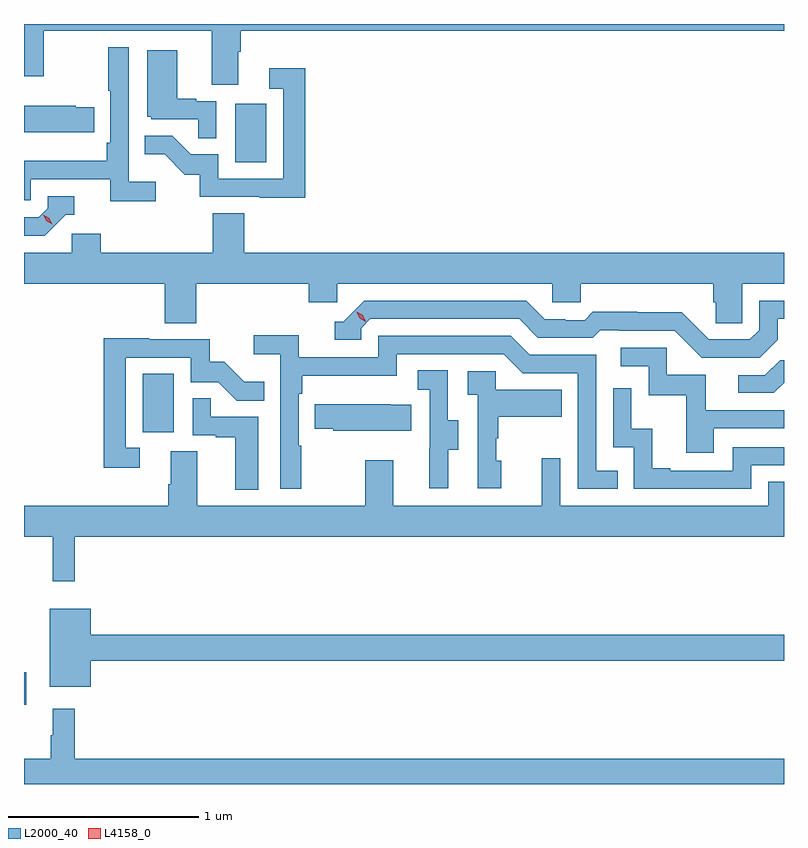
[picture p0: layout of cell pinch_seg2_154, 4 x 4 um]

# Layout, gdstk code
import gdstk
lib = gdstk.Library(unit=1e-6, precision=1e-09)
def R(c, l, rs):  # rectangles x0, y0, x1, y1
    for r in rs: c.add(gdstk.rectangle(r[:2], r[2:], *l))
def P(c, l, *ps):  # polygons
    for p in ps: c.add(gdstk.Polygon(p, *l))
L2000_40 = (2000, 40)
L4158_0 = (4158, 0)

pinch_seg2_154 = lib.new_cell('pinch_seg2_154')
R(pinch_seg2_154, L2000_40, [(1089.769,637.427,1089.781,637.598), (1090.394,638.862,1090.558,639.169), (1090.88,640.284,1091.044,640.591)])
P(pinch_seg2_154, L2000_40, [(1090.897,640.864),(1090.91,640.864),(1090.91,640.976),(1093.769,640.976),(1093.769,641.011),(1089.769,641.011),(1089.769,640.737),(1089.873,640.737),(1089.873,640.976),(1090.757,640.976),(1090.757,640.69),(1090.897,640.69)],
  [(1090.462,640.18),(1090.32,640.18),(1090.32,640.888),(1090.212,640.888),(1090.212,640.66),(1090.224,640.66),(1090.224,640.387),(1090.204,640.387),(1090.204,640.291),(1089.769,640.291),(1089.769,640.083),(1089.804,640.083),(1089.804,640.194),(1090.223,640.194),(1090.223,640.078),(1090.462,640.078)],
  [(1090.782,640.605),(1090.676,640.605),(1090.676,640.618),(1090.576,640.618),(1090.576,640.873),(1090.418,640.873),(1090.418,640.524),(1090.44,640.524),(1090.44,640.509),(1090.687,640.509),(1090.687,640.411),(1090.782,640.411)],
  [(1091.249,640.777),(1091.061,640.777),(1091.061,640.671),(1091.133,640.671),(1091.133,640.197),(1090.791,640.197),(1090.791,640.326),(1090.647,640.326),(1090.549,640.424),(1090.405,640.424),(1090.405,640.325),(1090.509,640.325),(1090.616,640.218),(1090.693,640.218),(1090.693,640.101),(1091.011,640.101),(1091.011,640.096),(1091.249,640.096)],
  [(1090.139,640.572),(1090.041,640.572),(1090.041,640.582),(1089.769,640.582),(1089.769,640.442),(1090.139,640.442)],
  [(1089.99,640.008),(1090.033,640.008),(1090.033,640.104),(1089.894,640.104),(1089.894,640.041),(1089.846,639.993),(1089.769,639.993),(1089.769,639.897),(1089.879,639.897)],
  [(1090.676,639.644),(1091.267,639.644),(1091.267,639.546),(1091.418,639.546),(1091.418,639.644),(1092.549,639.644),(1092.549,639.546),(1092.699,639.546),(1092.699,639.644),(1093.397,639.644),(1093.397,639.546),(1093.411,639.546),(1093.411,639.436),(1093.548,639.436),(1093.548,639.644),(1093.769,639.644),(1093.769,639.808),(1090.928,639.808),(1090.928,640.016),(1090.763,640.016),(1090.763,639.808),(1090.172,639.808),(1090.172,639.906),(1090.02,639.906),(1090.02,639.808),(1089.769,639.808),(1089.769,639.644),(1090.511,639.644),(1090.511,639.436),(1090.676,639.436)],
  [(1093.735,639.349),(1093.735,639.459),(1093.769,639.459),(1093.769,639.555),(1093.638,639.555),(1093.638,639.399),(1093.59,639.351),(1093.374,639.351),(1093.232,639.493),(1092.996,639.493),(1092.996,639.496),(1092.763,639.496),(1092.721,639.453),(1092.618,639.453),(1092.618,639.456),(1092.511,639.456),(1092.412,639.555),(1091.559,639.555),(1091.448,639.444),(1091.405,639.444),(1091.405,639.348),(1091.544,639.348),(1091.544,639.411),(1091.592,639.459),(1092.375,639.459),(1092.474,639.36),(1092.763,639.36),(1092.802,639.399),(1092.901,639.399),(1092.901,639.396),(1093.194,639.396),(1093.335,639.255),(1093.641,639.255)],
  [(1091.227,638.792),(1091.214,638.792),(1091.214,639.065),(1091.234,639.065),(1091.234,639.161),(1091.73,639.161),(1091.73,639.273),(1092.294,639.273),(1092.393,639.174),(1092.684,639.174),(1092.684,638.565),(1092.893,638.565),(1092.893,638.661),(1092.78,638.661),(1092.78,639.27),(1092.43,639.27),(1092.331,639.369),(1091.634,639.369),(1091.634,639.258),(1091.216,639.258),(1091.216,639.374),(1090.977,639.374),(1090.977,639.272),(1091.118,639.272),(1091.118,638.565),(1091.227,638.565)],
  [(1090.378,638.781),(1090.305,638.781),(1090.305,639.255),(1090.647,639.255),(1090.647,639.126),(1090.792,639.126),(1090.89,639.028),(1091.033,639.028),(1091.033,639.127),(1090.929,639.127),(1090.822,639.234),(1090.746,639.234),(1090.746,639.351),(1090.427,639.351),(1090.427,639.356),(1090.189,639.356),(1090.189,638.676),(1090.378,638.676)],
  [(1093.399,638.883),(1093.769,638.883),(1093.769,638.979),(1093.357,638.979),(1093.357,639.165),(1093.152,639.165),(1093.152,639.306),(1092.909,639.306),(1092.909,639.21),(1093.056,639.21),(1093.056,639.057),(1093.255,639.057),(1093.255,638.754),(1093.399,638.754)],
  [(1093.769,639.124),(1093.769,639.242),(1093.748,639.242),(1093.668,639.162),(1093.527,639.162),(1093.527,639.069),(1093.714,639.069)],
  [(1092.001,638.77),(1092.055,638.77),(1092.055,638.925),(1092,638.925),(1092,639.188),(1091.841,639.188),(1091.841,639.085),(1091.904,639.085),(1091.904,638.781),(1091.903,638.781),(1091.903,638.568),(1092.001,638.568)],
  [(1092.28,638.712),(1092.255,638.712),(1092.255,638.831),(1092.265,638.831),(1092.265,638.945),(1092.599,638.945),(1092.599,639.085),(1092.252,639.085),(1092.252,639.183),(1092.105,639.183),(1092.105,639.059),(1092.156,639.059),(1092.156,638.568),(1092.28,638.568)],
  [(1093.596,638.688),(1093.769,638.688),(1093.769,638.784),(1093.5,638.784),(1093.5,638.661),(1093.171,638.661),(1093.171,638.674),(1093.076,638.674),(1093.076,638.882),(1092.966,638.882),(1092.966,639.094),(1092.87,639.094),(1092.87,638.784),(1092.978,638.784),(1092.978,638.565),(1093.596,638.565)],
  [(1091.002,638.943),(1090.751,638.943),(1090.751,639.041),(1090.656,639.041),(1090.656,638.847),(1090.777,638.847),(1090.777,638.835),(1090.88,638.835),(1090.88,638.561),(1091.002,638.561)],
  [(1091.807,639.007),(1091.699,639.007),(1091.699,639.01),(1091.299,639.01),(1091.299,638.881),(1091.397,638.881),(1091.397,638.87),(1091.807,638.87)],
  [(1093.769,638.603),(1093.686,638.603),(1093.686,638.476),(1092.591,638.476),(1092.591,638.725),(1092.494,638.725),(1092.494,638.476),(1091.713,638.476),(1091.713,638.716),(1091.566,638.716),(1091.566,638.476),(1090.681,638.476),(1090.681,638.762),(1090.541,638.762),(1090.541,638.588),(1090.529,638.588),(1090.529,638.476),(1089.769,638.476),(1089.769,638.312),(1089.92,638.312),(1089.92,638.079),(1090.037,638.079),(1090.037,638.312),(1093.769,638.312)],
  [(1090.12,637.66),(1093.769,637.66),(1093.769,637.796),(1090.12,637.796),(1090.12,637.933),(1089.905,637.933),(1089.905,637.523),(1090.12,637.523)],
  [(1093.769,637.144),(1090.037,637.144),(1090.037,637.408),(1089.92,637.408),(1089.92,637.268),(1089.909,637.268),(1089.909,637.144),(1089.769,637.144),(1089.769,637.011),(1093.769,637.011)])
P(pinch_seg2_154, L4158_0, [(1089.918,639.956),(1089.887,639.975),(1089.87,640.007),(1089.87,640.008),(1089.871,640.008),(1089.902,639.988),(1089.918,639.956),(1089.918,639.956)],
  [(1091.567,639.444),(1091.536,639.463),(1091.52,639.496),(1091.52,639.496),(1091.52,639.496),(1091.551,639.477),(1091.567,639.444),(1091.567,639.444)])

lib.write_gds('pinch_seg2_154.gds')
